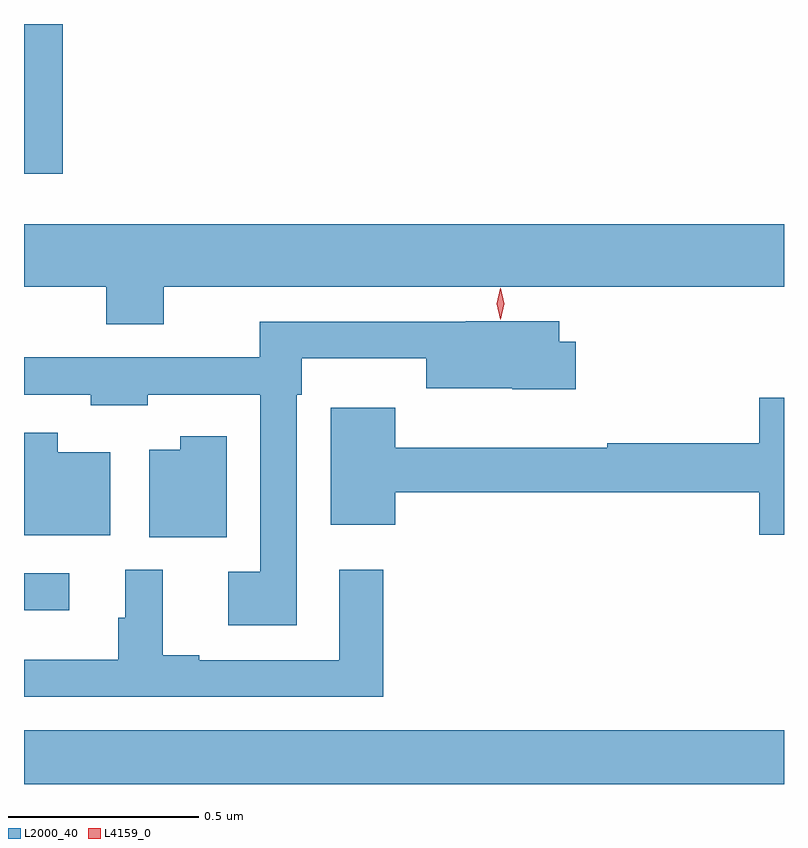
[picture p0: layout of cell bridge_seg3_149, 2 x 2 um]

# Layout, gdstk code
import gdstk
lib = gdstk.Library(unit=1e-6, precision=1e-09)
def R(c, l, rs):  # rectangles x0, y0, x1, y1
    for r in rs: c.add(gdstk.rectangle(r[:2], r[2:], *l))
def P(c, l, *ps):  # polygons
    for p in ps: c.add(gdstk.Polygon(p, *l))
L2000_40 = (2000, 40)
L4159_0 = (4159, 0)

bridge_seg3_149 = lib.new_cell('bridge_seg3_149')
R(bridge_seg3_149, L2000_40, [(610.949,695.611,612.949,695.752), (610.949,696.068,611.068,696.165), (610.949,697.217,611.051,697.611)])
P(bridge_seg3_149, L2000_40, [(611.317,696.92),(612.949,696.92),(612.949,697.084),(610.949,697.084),(610.949,696.92),(611.165,696.92),(611.165,696.821),(611.317,696.821)],
  [(611.667,696.635),(611.68,696.635),(611.68,696.731),(612.008,696.731),(612.008,696.653),(612.234,696.653),(612.234,696.65),(612.401,696.65),(612.401,696.775),(612.358,696.775),(612.358,696.829),(612.112,696.829),(612.112,696.828),(611.569,696.828),(611.569,696.734),(610.949,696.734),(610.949,696.636),(611.124,696.636),(611.124,696.608),(611.274,696.608),(611.274,696.636),(611.571,696.636),(611.571,696.169),(611.487,696.169),(611.487,696.029),(611.667,696.029)],
  [(612.949,696.628),(612.884,696.628),(612.884,696.508),(612.484,696.508),(612.484,696.496),(611.926,696.496),(611.926,696.601),(611.756,696.601),(611.756,696.293),(611.926,696.293),(611.926,696.379),(612.884,696.379),(612.884,696.267),(612.949,696.267)],
  [(611.176,696.484),(611.038,696.484),(611.038,696.535),(610.949,696.535),(610.949,696.266),(611.176,696.266)],
  [(611.482,696.526),(611.36,696.526),(611.36,696.49),(611.279,696.49),(611.279,696.26),(611.482,696.26)],
  [(611.894,696.175),(611.778,696.175),(611.778,695.937),(611.41,695.937),(611.41,695.95),(611.314,695.95),(611.314,696.175),(611.216,696.175),(611.216,696.048),(611.197,696.048),(611.197,695.938),(610.949,695.938),(610.949,695.841),(611.894,695.841)])
P(bridge_seg3_149, L4159_0, [(612.202,696.834),(612.193,696.875),(612.202,696.916),(612.203,696.916),(612.203,696.916),(612.213,696.875),(612.203,696.834),(612.203,696.834)])

lib.write_gds('bridge_seg3_149.gds')
